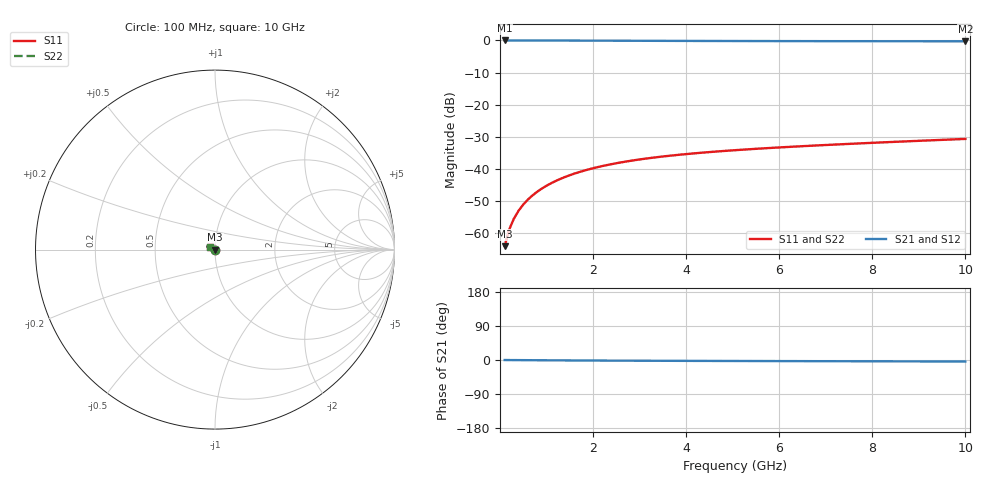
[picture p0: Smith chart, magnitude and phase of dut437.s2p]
! Touchstone file exported from HFSS 2024.1.0
!  File:  C:/UserFiles/LocalFiles/RDL_TSV_Batchsim/temp_TSV1_437_1779694777.aedt
!  Generated:  03:46:11 PM May 25, 2026
!  Design:  TSV1
!  Project:  temp_TSV1_437_1779694777
!  Setup:  Setup1
!  Solution:  Sweep
! Variables:
!  dtsv = 6.33um
!  hbump = 3um
!  htsv = 57.99um
!  lrdl = 252.1521522um
!  p = 40
!  p1 = 46.02um
!  t = 500um
!  trdl = 3um
!  wrdl = 24.89489489um
# GHz S MA R 50.000000
! Terminal data exported
! Port[1] = TSV22_T1
! Port[2] = TSV22_T2
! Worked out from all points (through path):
!   100 points, 100 MHz to 10 GHz, reference 50 ohm
!   highest |S21| = 0.00 dB at 100 MHz (marker M1); lowest = -0.3 dB at 10 GHz (marker M2)
!   lowest |S11| = -64.1 dB at 100 MHz (marker M3), VSWR 1.00, Z = 50 - j0.0562 ohm
!   |S11| at or under -10 dB: start of sweep to end of sweep
!   |S22| runs from -64.1 to -30.7 dB; largest |S21 - S12| = 3e-15
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0.1  0.0006249 -64.1  0.9997 -0.1  0.9997 -0.1  0.0006249 -64.1
! Gamma 0 0 0 0
! Port Impedance 50 0 50 0
0.2  0.001141 -79.4  0.9996 -0.2  0.9996 -0.2  0.001141 -79.4
0.3  0.001681 -86.5  0.9995 -0.2  0.9995 -0.2  0.001681 -86.5
0.4  0.002228 -91.1  0.9993 -0.3  0.9993 -0.3  0.002228 -91.1
0.5  0.002775 -94.6  0.9991 -0.4  0.9991 -0.4  0.002775 -94.6
0.6  0.003322 -97.7  0.9989 -0.5  0.9989 -0.5  0.003322 -97.7
0.7  0.003865 -100.4  0.9986 -0.6  0.9986 -0.6  0.003865 -100.4
0.8  0.004403 -102.9  0.9983 -0.6  0.9983 -0.6  0.004403 -102.9
0.9  0.004935 -105.2  0.998 -0.7  0.998 -0.7  0.004935 -105.2
1.1  0.005979 -109.7  0.9973 -0.9  0.9973 -0.9  0.005979 -109.7
1.4  0.007481 -115.9  0.996 -1.1  0.996 -1.1  0.007481 -115.9
1.6  0.008436 -119.8  0.9951 -1.2  0.9951 -1.2  0.008436 -119.8
1.8  0.00935 -123.5  0.9941 -1.3  0.9941 -1.3  0.00935 -123.5
2.1  0.01065 -128.9  0.9926 -1.5  0.9926 -1.5  0.01065 -128.9
2.5  0.01223 -135.6  0.9905 -1.7  0.9905 -1.7  0.01223 -135.6
2.9  0.01367 -141.8  0.9884 -1.9  0.9884 -1.9  0.01367 -141.8
3.4  0.01528 -149.0  0.986 -2.1  0.986 -2.1  0.01528 -149.0
4.2  0.0175 -159.2  0.9825 -2.4  0.9825 -2.4  0.0175 -159.2
5.1  0.01964 -169.2  0.9793 -2.6  0.9793 -2.6  0.01964 -169.2
6.7  0.02294 176.4  0.9752 -3.1  0.9752 -3.1  0.02294 176.4
8.4  0.02619 164.4  0.9723 -3.6  0.9723 -3.6  0.02619 164.4
10  0.02926 155.3  0.9703 -4.0  0.9703 -4.0  0.02926 155.3
